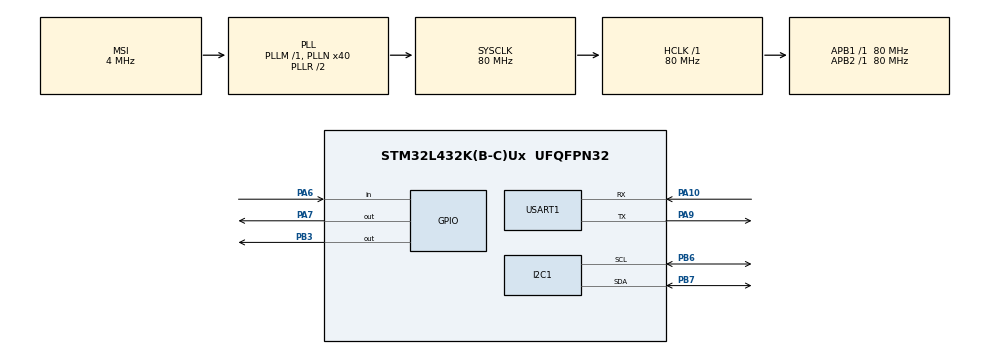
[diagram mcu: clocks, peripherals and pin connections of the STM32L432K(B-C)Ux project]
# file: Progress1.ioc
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I2C1.Timing=0x10909CEC
Mcu.Family=STM32L4
Mcu.Name=STM32L432K(B-C)Ux
Mcu.Package=UFQFPN32
NVIC.PriorityGroup=NVIC_PRIORITYGROUP_4
PA10.Mode=Asynchronous
PA10.Signal=USART1_RX
PA13\ (JTMS-SWDIO).Mode=Serial_Wire
PA13\ (JTMS-SWDIO).Signal=SYS_JTMS-SWDIO
PA14\ (JTCK-SWCLK).Mode=Serial_Wire
PA14\ (JTCK-SWCLK).Signal=SYS_JTCK-SWCLK
PA6.Signal=GPIO_Input
PA7.Signal=GPIO_Output
PA9.Mode=Asynchronous
PA9.Signal=USART1_TX
PB3\ (JTDO-TRACESWO).Signal=GPIO_Output
PB6.Mode=I2C
PB6.Signal=I2C1_SCL
PB7.Mode=I2C
PB7.Signal=I2C1_SDA
PC14-OSC32_IN\ (PC14).Mode=LSE-External-Oscillator
PC14-OSC32_IN\ (PC14).Signal=RCC_OSC32_IN
PC15-OSC32_OUT\ (PC15).Mode=LSE-External-Oscillator
PC15-OSC32_OUT\ (PC15).Signal=RCC_OSC32_OUT
ProjectManager.HeapSize=0x200
ProjectManager.StackSize=0x400
ProjectManager.TargetToolchain=MDK-ARM V5
RCC.AHBFreq_Value=80000000
RCC.APB1Freq_Value=80000000
RCC.APB1TimFreq_Value=80000000
RCC.APB2Freq_Value=80000000
RCC.APB2TimFreq_Value=80000000
RCC.CortexFreq_Value=80000000
RCC.HCLKFreq_Value=80000000
RCC.HSE_VALUE=8000000
RCC.HSI48_VALUE=48000000
RCC.HSI_VALUE=16000000
RCC.MSI_VALUE=4000000
RCC.PLLN=40
RCC.SYSCLKFreq_VALUE=80000000
RCC.SYSCLKSource=RCC_SYSCLKSOURCE_PLLCLK
RCC.VCOOutputFreq_Value=160000000
USART1.VirtualMode-Asynchronous=VM_ASYNC
board=custom

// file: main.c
/* USER CODE BEGIN Header */
/**
  ******************************************************************************
  * @file           : main.c
  * @brief          : Main program body
  ******************************************************************************
  * @attention
  *
  * <h2><center>&copy; Copyright (c) 2021 STMicroelectronics.
  * All rights reserved.</center></h2>
  *
  * This software component is licensed by ST under BSD 3-Clause license,
  * the "License"; You may not use this file except in compliance with the
  * License. You may obtain a copy of the License at:
  *                        opensource.org/licenses/BSD-3-Clause
  *
  ******************************************************************************
  */
/* USER CODE END Header */
#include "main.h"

/* USER CODE BEGIN Includes */
#include <stdio.h>
#include <stdlib.h>
#include <string.h>
/* USER CODE END Includes */

I2C_HandleTypeDef hi2c1;

UART_HandleTypeDef huart1;

void SystemClock_Config(void);
static void MX_GPIO_Init(void);
static void MX_I2C1_Init(void);
static void MX_USART1_UART_Init(void);

int main(void)
{

  /* MCU Configuration--------------------------------------------------------*/

  /* Reset of all peripherals, Initializes the Flash interface and the Systick. */
  HAL_Init();

  /* Configure the system clock */
  SystemClock_Config();

  /* Initialize all configured peripherals */
  MX_GPIO_Init();
  MX_I2C1_Init();
  MX_USART1_UART_Init();
  /* USER CODE BEGIN 2 */
//	if (HAL_I2C_IsDeviceReady(&hi2c1, 0xD0, 10, HAL_MAX_DELAY) == HAL_OK)
//	{
//		for (int i = 1; i<=2;i++) // indicator of ready device
//		{
//			HAL_GPIO_TogglePin(GPIOB, GPIO_PIN_3);
//			HAL_Delay(250);
//		}
//	}
	uint8_t secbuffer[2], minbuffer[2], hourbuffer[2], daybuffer[2], datebuffer[2];
// seconds
	secbuffer[0] = 0x00; //register address
	secbuffer[1] = 0x00; //data to put in register --> 00 sec
	HAL_I2C_Master_Transmit(&hi2c1, 0xD0, secbuffer, 2, 10);
// minutes
	minbuffer[0] = 0x01; //register address
	minbuffer[1] = 0x40; //data to put in register --> 40 min
	HAL_I2C_Master_Transmit(&hi2c1, 0xD0, minbuffer, 2, 10);
// hours
	hourbuffer[0] = 0x02; //register address
	hourbuffer[1] = 0x11; //data to put in register 01001001 --> 11 am
	HAL_I2C_Master_Transmit(&hi2c1, 0xD0, hourbuffer, 2, 10);

	daybuffer[0] = 0x03;
	daybuffer[0] = 0x00;
	HAL_I2C_Master_Transmit(&hi2c1, 0xD0, daybuffer, 2, 10);

	datebuffer[0] = 0x04;
	datebuffer[0] = 0x00;
	HAL_I2C_Master_Transmit(&hi2c1, 0xD0, datebuffer, 2, 10);

// Transmit via I2C to set alarm 2
	uint8_t status_reg[2], ctrl_reg[2];
	uint8_t alarm_minbuffer[2], alarm_hourbuffer[2], alarm_daybuffer[2], alarm_datebuffer[2];
	int count = 1;
	//char t[1];
	//while (HAL_UART_Receive(&huart1, (uint8_t *)t, 1, HAL_MAX_DELAY) != HAL_OK){}
	//count = atoi(t);
	//while (HAL_UART_Transmit(&huart1, (uint8_t *)count, 1, HAL_MAX_DELAY) != HAL_OK){}
	HAL_UART_Transmit(&huart1, (uint8_t *)count, 1, HAL_MAX_DELAY);
// status register
	status_reg[0] = 0x0F;
	status_reg[1] = 0x88;
	HAL_I2C_Master_Transmit(&hi2c1, 0xD0, status_reg, 2, 10);
// control register
	ctrl_reg[0] = 0x0E;
	ctrl_reg[1] = 0x1E;
	HAL_I2C_Master_Transmit(&hi2c1, 0xD0, ctrl_reg, 2, 10);
// minutes
	alarm_minbuffer[0] = 0x0B;
	alarm_minbuffer[1] = 0x41;
	alarm_minbuffer[1] += count;
	HAL_I2C_Master_Transmit(&hi2c1, 0xD0, alarm_minbuffer, 2, 10);
// hours
	alarm_hourbuffer[0] = 0x0C;
	alarm_hourbuffer[1] = 0x11;
	HAL_I2C_Master_Transmit(&hi2c1, 0xD0, alarm_hourbuffer, 2, 10);

	alarm_daybuffer[0] = 0x0D;
	alarm_daybuffer[1] = 0xC0;
	HAL_I2C_Master_Transmit(&hi2c1, 0xD0, alarm_daybuffer, 2, 10);

	alarm_datebuffer[0] = 0x0D;
	alarm_datebuffer[1] = 0x80;
	HAL_I2C_Master_Transmit(&hi2c1, 0xD0, alarm_datebuffer, 2, 10);

//Receive via I2C and forward to UART
	uint8_t h1,h2,m1,m2,s1,s2;
	char uartBuf [100] = {0};
	uint8_t a2f;

	/*
	uint8_t mode_reg[2];
	uint8_t fifo_data[2];
	uint8_t result[4];
	fifo_data[0] = 0x05;
	mode_reg[0] = 0x06;
	mode_reg[1] = 0x42;
	HAL_I2C_Master_Transmit(&hi2c1, 0xD0, mode_reg, 2, 10);
	*/
  /* USER CODE END 2 */

  /* Infinite loop */
  while (1)
  {

    /* USER CODE BEGIN 3 */
		/*
		HAL_I2C_Master_Transmit(&hi2c1, 0xD0, fifo_data, 1, 10);
		for (int i = 0; i < 4; i++)
		{
			HAL_I2C_Master_Receive(&hi2c1, 0xD1, fifo_data+1, 1, 10);
			result[i] = fifo_data[1];
		}
		HAL_UART_Transmit(&huart2, result, 4, HAL_MAX_DELAY);
		*/
		//send seconds register address 00h to read from
		HAL_I2C_Master_Transmit(&hi2c1, 0xD0, secbuffer, 1, 10);
		//read data of register 00h to secbuffer[1]
		HAL_I2C_Master_Receive(&hi2c1, 0xD1, secbuffer+1, 1, 10);
		//prepare UART output
		s1 = secbuffer[1] >> 4;
		s2 = secbuffer[1] & 0x0F;
		HAL_I2C_Master_Transmit(&hi2c1, 0xD0, minbuffer, 1, 10);
		HAL_I2C_Master_Receive(&hi2c1, 0xD1, minbuffer+1, 1, 10);
		m1 = minbuffer[1] >> 4;
		m2 = minbuffer[1] & 0x0F;
		HAL_I2C_Master_Transmit(&hi2c1, 0xD0, hourbuffer, 1, 10);
		HAL_I2C_Master_Receive(&hi2c1, 0xD1, hourbuffer+1, 1, 10);
		h1 = (hourbuffer[1] >> 4) & 1;
		h2 = hourbuffer[1] & 0x0F;
		// transmit time to UART
		sprintf(uartBuf, "%d%d:%d%d:%d%d\r\n",h1,h2,m1,m2,s1,s2);
		HAL_UART_Transmit(&huart1, (uint8_t *)uartBuf, sizeof(uartBuf), 10);
		HAL_I2C_Master_Transmit(&hi2c1, 0xD0, &status_reg[0], 1, 10);
		HAL_I2C_Master_Receive(&hi2c1, 0xD1, &a2f, 1, 10);

		if (a2f & 0x02)
		{
			alarm_minbuffer[1] += count;
			HAL_I2C_Master_Transmit(&hi2c1, 0xD0, alarm_minbuffer, 2, 10);
		}

		HAL_I2C_Master_Transmit(&hi2c1, 0xD0, status_reg, 2, 10);
		HAL_Delay(1000);
	}
  /* USER CODE END 3 */
}

void SystemClock_Config(void)
{
  RCC_OscInitTypeDef RCC_OscInitStruct = {0};
  RCC_ClkInitTypeDef RCC_ClkInitStruct = {0};

  /** Configure the main internal regulator output voltage
  */
  if (HAL_PWREx_ControlVoltageScaling(PWR_REGULATOR_VOLTAGE_SCALE1) != HAL_OK)
  {
    Error_Handler();
  }
  /** Configure LSE Drive Capability
  */
  HAL_PWR_EnableBkUpAccess();
  __HAL_RCC_LSEDRIVE_CONFIG(RCC_LSEDRIVE_LOW);
  /** Initializes the RCC Oscillators according to the specified parameters
  * in the RCC_OscInitTypeDef structure.
  */
  RCC_OscInitStruct.OscillatorType = RCC_OSCILLATORTYPE_LSE|RCC_OSCILLATORTYPE_MSI;
  RCC_OscInitStruct.LSEState = RCC_LSE_ON;
  RCC_OscInitStruct.MSIState = RCC_MSI_ON;
  RCC_OscInitStruct.MSICalibrationValue = 0;
  RCC_OscInitStruct.MSIClockRange = RCC_MSIRANGE_6;
  RCC_OscInitStruct.PLL.PLLState = RCC_PLL_ON;
  RCC_OscInitStruct.PLL.PLLSource = RCC_PLLSOURCE_MSI;
  RCC_OscInitStruct.PLL.PLLM = 1;
  RCC_OscInitStruct.PLL.PLLN = 40;
  RCC_OscInitStruct.PLL.PLLP = RCC_PLLP_DIV7;
  RCC_OscInitStruct.PLL.PLLQ = RCC_PLLQ_DIV2;
  RCC_OscInitStruct.PLL.PLLR = RCC_PLLR_DIV2;
  if (HAL_RCC_OscConfig(&RCC_OscInitStruct) != HAL_OK)
  {
    Error_Handler();
  }
  /** Initializes the CPU, AHB and APB buses clocks
  */
  RCC_ClkInitStruct.ClockType = RCC_CLOCKTYPE_HCLK|RCC_CLOCKTYPE_SYSCLK
                              |RCC_CLOCKTYPE_PCLK1|RCC_CLOCKTYPE_PCLK2;
  RCC_ClkInitStruct.SYSCLKSource = RCC_SYSCLKSOURCE_PLLCLK;
  RCC_ClkInitStruct.AHBCLKDivider = RCC_SYSCLK_DIV1;
  RCC_ClkInitStruct.APB1CLKDivider = RCC_HCLK_DIV1;
  RCC_ClkInitStruct.APB2CLKDivider = RCC_HCLK_DIV1;

  if (HAL_RCC_ClockConfig(&RCC_ClkInitStruct, FLASH_LATENCY_4) != HAL_OK)
  {
    Error_Handler();
  }
  /** Enable MSI Auto calibration
  */
  HAL_RCCEx_EnableMSIPLLMode();
}

static void MX_I2C1_Init(void)
{

  hi2c1.Instance = I2C1;
  hi2c1.Init.Timing = 0x10909CEC;
  hi2c1.Init.OwnAddress1 = 0;
  hi2c1.Init.AddressingMode = I2C_ADDRESSINGMODE_7BIT;
  hi2c1.Init.DualAddressMode = I2C_DUALADDRESS_DISABLE;
  hi2c1.Init.OwnAddress2 = 0;
  hi2c1.Init.OwnAddress2Masks = I2C_OA2_NOMASK;
  hi2c1.Init.GeneralCallMode = I2C_GENERALCALL_DISABLE;
  hi2c1.Init.NoStretchMode = I2C_NOSTRETCH_DISABLE;
  if (HAL_I2C_Init(&hi2c1) != HAL_OK)
  {
    Error_Handler();
  }
  /** Configure Analogue filter
  */
  if (HAL_I2CEx_ConfigAnalogFilter(&hi2c1, I2C_ANALOGFILTER_ENABLE) != HAL_OK)
  {
    Error_Handler();
  }
  /** Configure Digital filter
  */
  if (HAL_I2CEx_ConfigDigitalFilter(&hi2c1, 0) != HAL_OK)
  {
    Error_Handler();
  }

}

static void MX_USART1_UART_Init(void)
{

  huart1.Instance = USART1;
  huart1.Init.BaudRate = 115200;
  huart1.Init.WordLength = UART_WORDLENGTH_8B;
  huart1.Init.StopBits = UART_STOPBITS_1;
  huart1.Init.Parity = UART_PARITY_NONE;
  huart1.Init.Mode = UART_MODE_TX_RX;
  huart1.Init.HwFlowCtl = UART_HWCONTROL_NONE;
  huart1.Init.OverSampling = UART_OVERSAMPLING_16;
  huart1.Init.OneBitSampling = UART_ONE_BIT_SAMPLE_DISABLE;
  huart1.AdvancedInit.AdvFeatureInit = UART_ADVFEATURE_NO_INIT;
  if (HAL_UART_Init(&huart1) != HAL_OK)
  {
    Error_Handler();
  }

}

static void MX_GPIO_Init(void)
{
  GPIO_InitTypeDef GPIO_InitStruct = {0};

  /* GPIO Ports Clock Enable */
  __HAL_RCC_GPIOC_CLK_ENABLE();
  __HAL_RCC_GPIOA_CLK_ENABLE();
  __HAL_RCC_GPIOB_CLK_ENABLE();

  /*Configure GPIO pin Output Level */
  HAL_GPIO_WritePin(GPIOB, GPIO_PIN_3, GPIO_PIN_RESET);

  /*Configure GPIO pin : PB3 */
  GPIO_InitStruct.Pin = GPIO_PIN_3;
  GPIO_InitStruct.Mode = GPIO_MODE_OUTPUT_PP;
  GPIO_InitStruct.Pull = GPIO_NOPULL;
  GPIO_InitStruct.Speed = GPIO_SPEED_FREQ_LOW;
  HAL_GPIO_Init(GPIOB, &GPIO_InitStruct);

}

void Error_Handler(void)
{
  __disable_irq();
  while (1)
  {
  }
}

/************************ (C) COPYRIGHT STMicroelectronics *****END OF FILE****/
